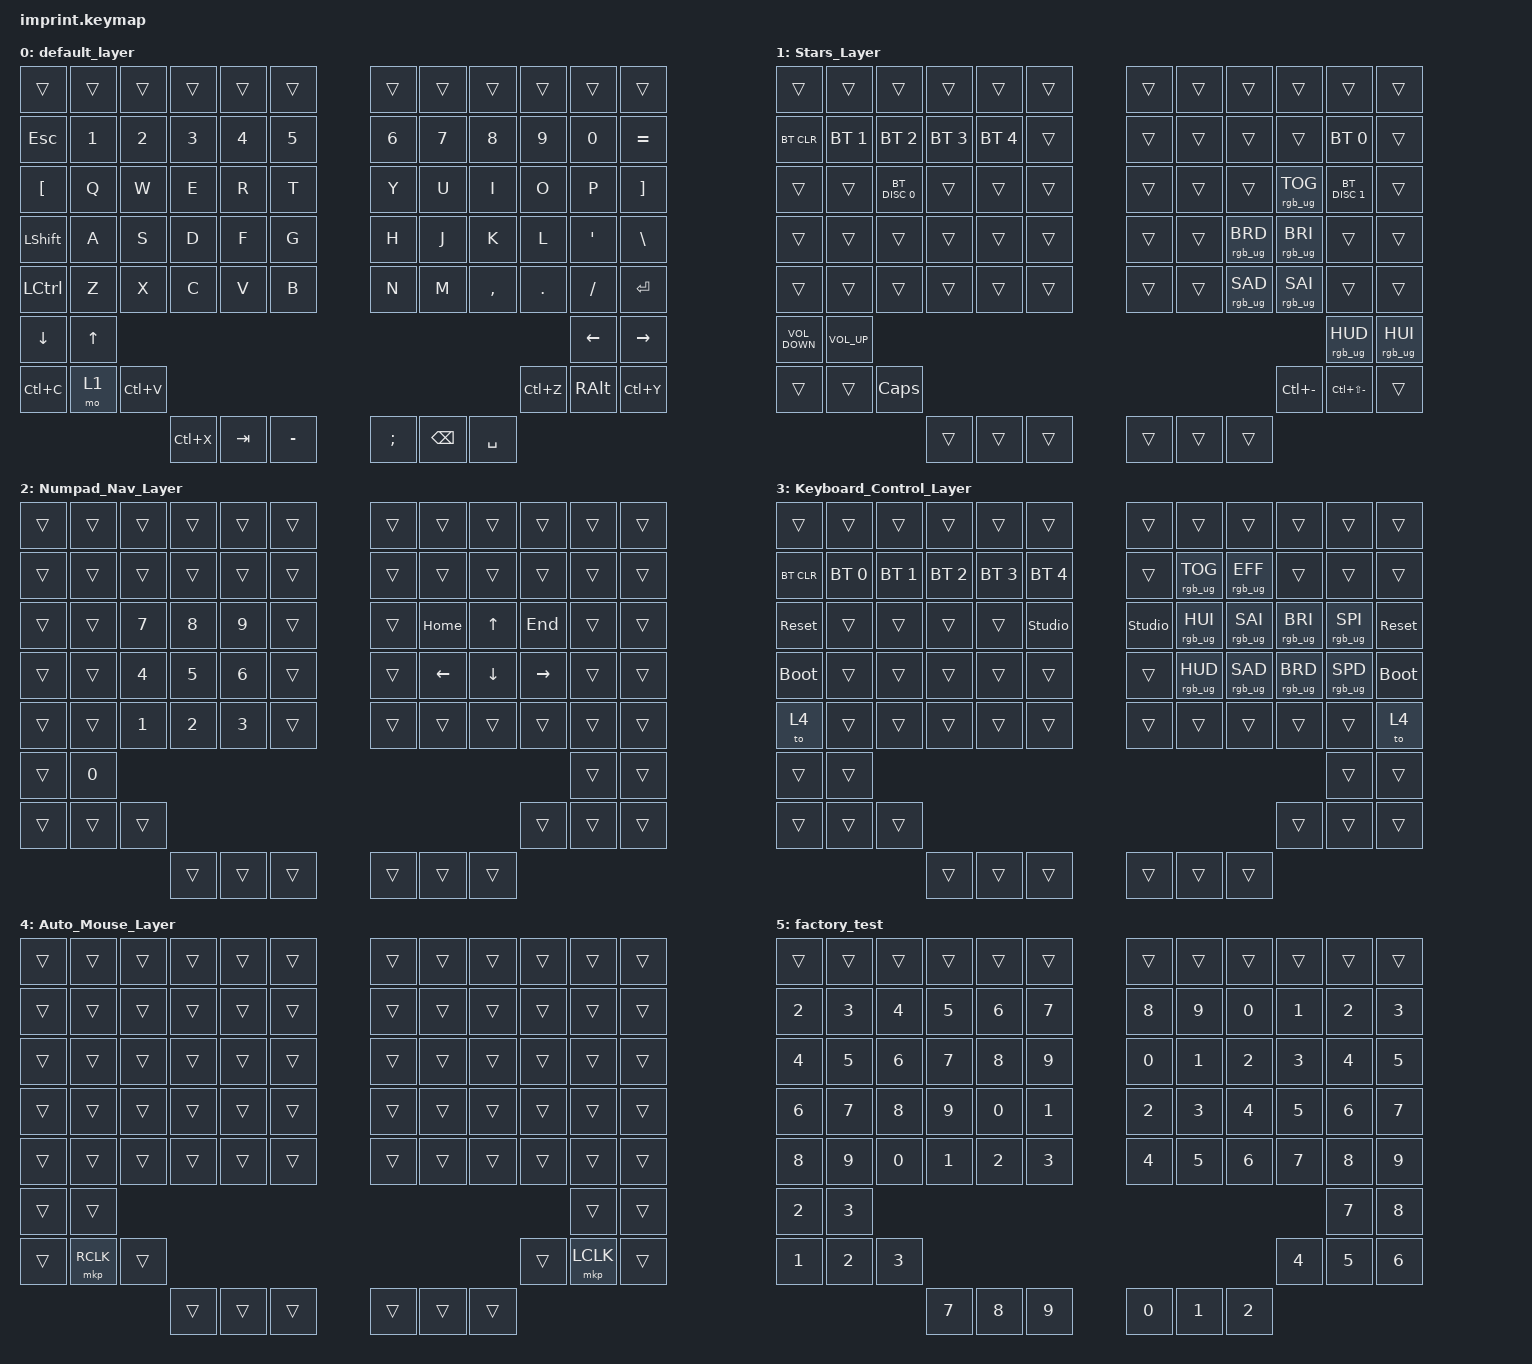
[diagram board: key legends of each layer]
#include <input/processors.dtsi>
#include <dt-bindings/zmk/input_transform.h>
#include <behaviors.dtsi>
#include <dt-bindings/zmk/bt.h>
#include <dt-bindings/zmk/keys.h>
#include <dt-bindings/zmk/pointing.h>
#include <dt-bindings/zmk/rgb.h>

/ {
    keymap {
        compatible = "zmk,keymap";

        default_layer {
            bindings = <
&trans  &trans  &trans  &trans  &trans  &trans                                     &trans  &trans   &trans   &trans    &trans  &trans
 &kp ESC    &kp N1    &kp N2    &kp N3    &kp N4  &kp N5                                         &kp N6      &kp N7     &kp N8    &kp N9   &kp N0   &kp EQUAL
 &kp LBKT    &kp Q     &kp W     &kp E     &kp R   &kp T                                          &kp Y       &kp U      &kp I     &kp O    &kp P    &kp RBKT
 &kp LSHFT  &kp A     &kp S     &kp D     &kp F   &kp G                                          &kp H       &kp J      &kp K     &kp L    &kp SQT &kp BSLH
 &kp LCTRL  &kp Z     &kp X     &kp C     &kp V   &kp B                                          &kp N       &kp M      &kp COMMA &kp DOT  &kp FSLH &kp ENTER
                      &kp DOWN  &kp UP                                                                                &kp LEFT  &kp RIGHT
                                                  &kp LC(C)  &mo 1  &kp LC(V)       &kp LC(Z)  &kp RALT  &kp LC(Y)
                                                  &kp LC(X)  &kp TAB  &kp MINUS     &kp SEMI  &kp BSPC  &kp SPACE
            >;
        };

//W = &bt BT_DISC 0 = disconnect from the work
//P = &bt BT_DISC 1 = disconnect from the personal
        Stars_Layer {
            bindings = <
&trans  &trans  &trans  &trans  &trans  &trans                                     &trans  &trans   &trans   &trans    &trans  &trans
 &bt BT_CLR  &bt BT_SEL 1  &bt BT_SEL 2  &bt BT_SEL 3  &bt BT_SEL 4  &trans                                     &trans  &trans  &trans  &trans  &bt BT_SEL 0  &trans
 &trans  &trans  &bt BT_DISC 0   &trans  &trans  &trans                                     &trans  &trans  &trans  &rgb_ug RGB_TOG  &bt BT_DISC 1   &trans
 &trans  &trans  &trans  &trans  &trans  &trans                            &trans  &trans  &rgb_ug RGB_BRD  &rgb_ug RGB_BRI  &trans  &trans
 &trans  &trans  &trans  &trans  &trans  &trans                                    &trans  &trans  &rgb_ug RGB_SAD  &rgb_ug RGB_SAI  &trans  &trans
                 &kp C_VOLUME_DOWN  &kp C_VOLUME_UP                                                                     &rgb_ug RGB_HUD  &rgb_ug RGB_HUI
                                         &trans  &trans &kp CAPS        &kp LC(MINUS) &kp LC(LS(MINUS)) &trans
                                         &trans  &trans &trans        &trans &trans &trans
            >;
        };

        Numpad_Nav_Layer {
            bindings = <
&trans  &trans  &trans  &trans  &trans  &trans                                     &trans  &trans   &trans   &trans    &trans  &trans
 &trans  &trans  &trans  &trans  &trans  &trans                                     &trans  &trans   &trans   &trans    &trans  &trans
 &trans  &trans  &kp N7  &kp N8  &kp N9  &trans                                     &trans  &kp HOME &kp UP   &kp END   &trans  &trans
 &trans  &trans  &kp N4  &kp N5  &kp N6  &trans                                     &trans  &kp LEFT &kp DOWN &kp RIGHT &trans  &trans
 &trans  &trans  &kp N1  &kp N2  &kp N3  &trans                                     &trans  &trans   &trans   &trans    &trans  &trans
                 &trans  &kp N0                                                                      &trans   &trans
                                      &trans  &trans &trans       &trans  &trans &trans
                                      &trans  &trans &trans       &trans  &trans &trans
            >;
        };
//This map is currently unreachable. I am just putting key bindings I want to use in the future here.
        Keyboard_Control_Layer {
            bindings = <
&trans  &trans  &trans  &trans  &trans  &trans                                     &trans  &trans   &trans   &trans    &trans  &trans
 &bt BT_CLR  &bt BT_SEL 0 &bt BT_SEL 1 &bt BT_SEL 2 &bt BT_SEL 3 &bt BT_SEL 4           &trans         &rgb_ug RGB_TOG  &rgb_ug RGB_EFF &trans          &trans          &trans
 &sys_reset      &trans  &trans  &trans  &trans  &studio_unlock                             &studio_unlock &rgb_ug RGB_HUI  &rgb_ug RGB_SAI &rgb_ug RGB_BRI &rgb_ug RGB_SPI &sys_reset
 &bootloader &trans  &trans  &trans  &trans  &trans                                     &trans         &rgb_ug RGB_HUD  &rgb_ug RGB_SAD &rgb_ug RGB_BRD &rgb_ug RGB_SPD &bootloader
 &to 4      &trans  &trans  &trans  &trans  &trans                                     &trans         &trans           &trans          &trans          &trans          &to 4
                 &trans  &trans                                                                                         &trans          &trans
                                         &trans  &trans &trans        &trans &trans &trans
                                         &trans  &trans &trans        &trans &trans &trans
            >;
        };

        Auto_Mouse_Layer {
            bindings = <
&trans  &trans  &trans  &trans  &trans  &trans                                     &trans  &trans   &trans   &trans    &trans  &trans
 &trans  &trans  &trans  &trans  &trans  &trans                                     &trans  &trans  &trans  &trans  &trans  &trans
 &trans  &trans  &trans  &trans  &trans  &trans                                     &trans  &trans  &trans  &trans  &trans  &trans
 &trans  &trans  &trans  &trans  &trans  &trans                            &trans  &trans  &trans  &trans  &trans  &trans
 &trans  &trans  &trans  &trans  &trans  &trans                                     &trans  &trans  &trans  &trans  &trans  &trans
                 &trans  &trans                                                                     &trans  &trans
                                         &trans  &mkp RCLK &trans        &trans &mkp LCLK &trans
                                         &trans  &trans &trans        &trans &trans &trans
            >;
        };

        factory_test {
            bindings = <
&trans  &trans  &trans  &trans  &trans  &trans                                     &trans  &trans   &trans   &trans    &trans  &trans
&kp N2  &kp N3  &kp N4  &kp N5  &kp N6  &kp N7            &kp N8  &kp N9  &kp N0  &kp N1  &kp N2  &kp N3
&kp N4  &kp N5  &kp N6  &kp N7  &kp N8  &kp N9            &kp N0  &kp N1  &kp N2  &kp N3  &kp N4  &kp N5
&kp N6  &kp N7  &kp N8  &kp N9  &kp N0  &kp N1            &kp N2  &kp N3  &kp N4  &kp N5  &kp N6  &kp N7
&kp N8  &kp N9  &kp N0  &kp N1  &kp N2  &kp N3            &kp N4  &kp N5  &kp N6  &kp N7  &kp N8  &kp N9
                            &kp N2  &kp N3                                                                    &kp N7  &kp N8
                                &kp N1  &kp N2  &kp N3    &kp N4  &kp N5  &kp N6
                                &kp N7  &kp N8  &kp N9    &kp N0  &kp N1  &kp N2
            >;
        };
    };
};

//right hand trackball configuration

&trackball_peripheral_listener {
    input-processors =
        //I think this lets me access layer 4...?
        <&zip_temp_layer 4 2000>,
        // this gets it to the default installation orientation,
        <&zip_xy_scaler 1 2>;
};

//left hand trackball configuration

&trackball_central_listener {
    input-processors =

        // make this trackball output scrolling events by default instead of cursor movement,
        <&zip_xy_to_scroll_mapper>,

        // invert the horizontal scroll (multiples the value by -1)
        <&zip_scroll_transform (INPUT_TRANSFORM_X_INVERT)>,

        // multiply sensitivity by 1, divide by 3 (make it slower for scrolling),
        <&zip_scroll_scaler 1 13>;
};
